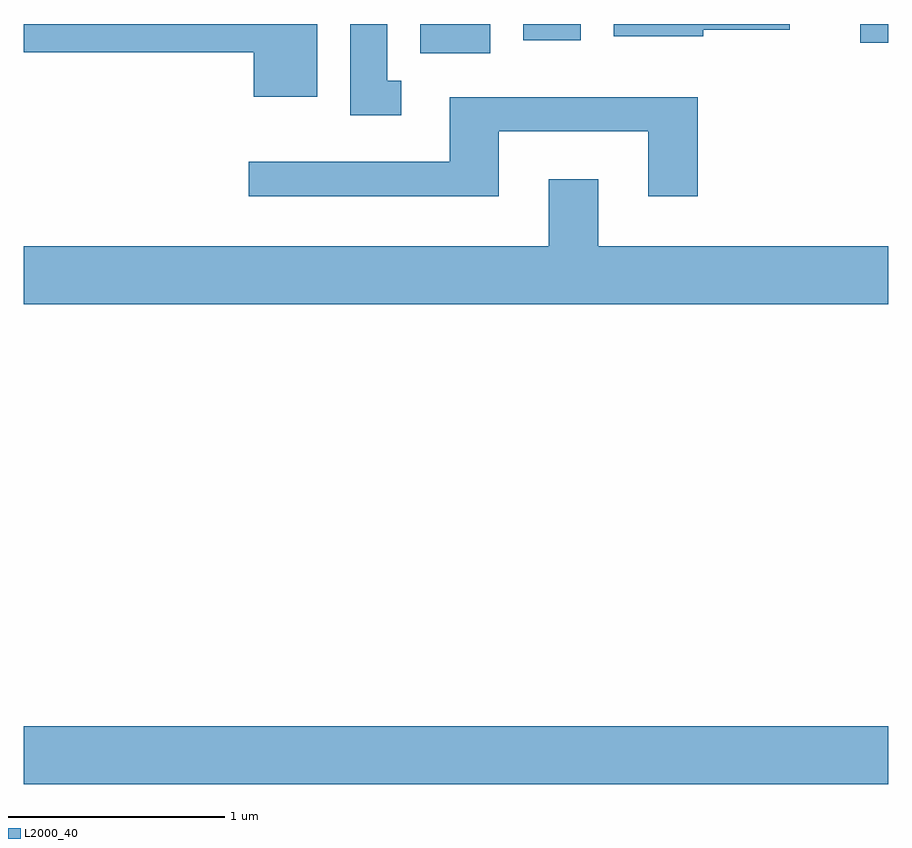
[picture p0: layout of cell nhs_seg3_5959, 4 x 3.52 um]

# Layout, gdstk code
import gdstk
lib = gdstk.Library(unit=1e-6, precision=1e-09)
def R(c, l, rs):  # rectangles x0, y0, x1, y1
    for r in rs: c.add(gdstk.rectangle(r[:2], r[2:], *l))
def P(c, l, *ps):  # polygons
    for p in ps: c.add(gdstk.Polygon(p, *l))
L2000_40 = (2000, 40)

nhs_seg3_5959 = lib.new_cell('nhs_seg3_5959')
R(nhs_seg3_5959, L2000_40, [(359.611,1210.376,363.611,1210.644), (361.446,1213.756,361.769,1213.892), (363.481,1213.806,363.611,1213.892), (361.921,1213.816,362.189,1213.892)])
P(nhs_seg3_5959, L2000_40, [(360.969,1213.892),(359.611,1213.892),(359.611,1213.761),(360.676,1213.761),(360.676,1213.556),(360.969,1213.556)],
  [(362.754,1213.866),(363.154,1213.866),(363.154,1213.892),(362.341,1213.892),(362.341,1213.836),(362.754,1213.836)],
  [(361.358,1213.629),(361.294,1213.629),(361.294,1213.892),(361.121,1213.892),(361.121,1213.471),(361.358,1213.471)],
  [(361.809,1213.396),(362.501,1213.396),(362.501,1213.096),(362.729,1213.096),(362.729,1213.554),(361.581,1213.554),(361.581,1213.254),(360.653,1213.254),(360.653,1213.096),(361.809,1213.096)],
  [(363.611,1212.864),(362.269,1212.864),(362.269,1213.174),(362.041,1213.174),(362.041,1212.864),(359.611,1212.864),(359.611,1212.596),(363.611,1212.596)])

lib.write_gds('nhs_seg3_5959.gds')
